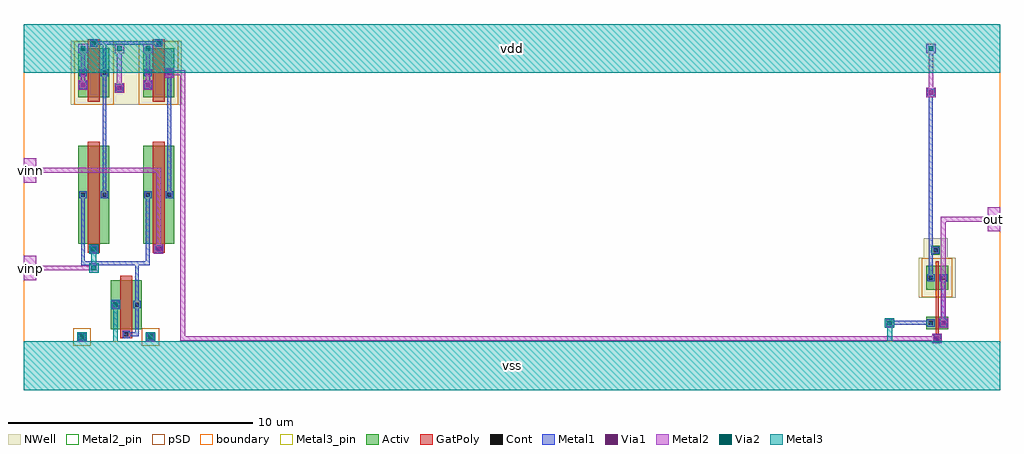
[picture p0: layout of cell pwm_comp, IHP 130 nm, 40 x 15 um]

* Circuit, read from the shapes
.subckt pwm_comp out vdd vinn vinp vss
XM1 n1 vinp n2 vss sg13_lv_nmos w=4u l=0.5u
XM2 n2 n2 vss vss sg13_lv_nmos w=2u l=0.5u
XM3 n3 vinn n2 vss sg13_lv_nmos w=4u l=0.5u
XM4 out n3 vss vss sg13_lv_nmos w=0.5u l=0.13u
XM5 n1 n1 vdd vdd sg13_lv_pmos w=2u l=0.5u
XM6 n3 n1 vdd vdd sg13_lv_pmos w=2u l=0.5u
XM7 out n3 vdd vdd sg13_lv_pmos w=1u l=0.13u
.ends

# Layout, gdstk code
import gdstk
lib = gdstk.Library(unit=1e-6, precision=1e-09)
def R(c, l, rs):  # rectangles x0, y0, x1, y1
    for r in rs: c.add(gdstk.rectangle(r[:2], r[2:], *l))
Activ = (1, 0)
GatPoly = (5, 0)
Cont = (6, 0)
Metal1 = (8, 0)
Metal2 = (10, 0)
Metal2_pin = (10, 2)
pSD = (14, 0)
Via1 = (19, 0)
Via2 = (29, 0)
Metal3 = (30, 0)
Metal3_pin = (30, 2)
NWell = (31, 0)
boundary = (189, 4)

pwm_comp = lib.new_cell('pwm_comp')
R(pwm_comp, Activ, [(2.2,2,2.56,2.36), (5,2,5.36,2.36), (3.56,2.5,4.82,4.5), (36.98,2.5,37.87,3), (36.98,4.1,37.87,5.1), (37.18,5.55,37.54,5.91), (2.23,6,3.49,10), (4.89,6,6.15,10), (2.23,12,3.49,14), (4.89,12,6.15,14), (3.73,12.2,4.09,12.56)])
R(pwm_comp, GatPoly, [(37.265,1.95,37.585,2.27), (3.94,2.12,4.44,2.32), (37.36,2.13,37.49,2.32), (37.36,2.27,37.49,2.32), (3.94,2.32,4.44,4.68), (37.36,2.32,37.49,3.18), (37.36,3.18,37.49,3.92), (37.36,3.92,37.49,5.28), (2.61,5.62,3.11,5.82), (5.27,5.62,5.77,5.82), (2.61,5.82,3.11,10.18), (5.27,5.82,5.77,10.18), (2.61,11.82,3.11,14.18), (5.27,11.82,5.77,14.18), (2.61,14.18,3.11,14.38), (5.27,14.18,5.77,14.38)])
R(pwm_comp, Cont, [(37.345,2.03,37.505,2.19), (37.345,2.03,37.505,2.19), (2.3,2.1,2.46,2.26), (5.1,2.1,5.26,2.26), (4.11,2.2,4.27,2.36), (37.09,2.67,37.25,2.83), (37.6,2.67,37.76,2.83), (3.67,3.42,3.83,3.58), (4.55,3.42,4.71,3.58), (37.09,4.52,37.25,4.68), (37.6,4.52,37.76,4.68), (37.28,5.65,37.44,5.81), (2.78,5.7,2.94,5.86), (5.44,5.7,5.6,5.86), (2.34,7.92,2.5,8.08), (3.22,7.92,3.38,8.08), (5,7.92,5.16,8.08), (5.88,7.92,6.04,8.08), (3.83,12.3,3.99,12.46), (2.34,12.92,2.5,13.08), (3.22,12.92,3.38,13.08), (5,12.92,5.16,13.08), (5.88,12.92,6.04,13.08), (2.78,14.14,2.94,14.3), (5.44,14.14,5.6,14.3)])
R(pwm_comp, Metal1, [(37.275,1.96,37.575,2.26), (37.275,1.96,37.575,2.26), (2.23,2.03,2.53,2.33), (2.23,2.03,2.53,2.33), (5.03,2.03,5.33,2.33), (5.03,2.03,5.33,2.33), (4.04,2.13,4.34,2.43), (4.11,2.2,4.71,2.36), (4.55,2.2,4.71,3.58), (35.33,2.6,35.63,2.9), (37.02,2.6,37.32,2.9), (37.53,2.6,37.83,2.9), (37.53,2.6,37.83,2.9), (35.4,2.67,37.25,2.83), (37.6,2.67,37.76,4.68), (3.6,3.35,3.9,3.65), (3.6,3.35,3.9,3.65), (4.48,3.35,4.78,3.65), (4.55,3.42,4.71,5.28), (37.02,4.45,37.32,4.75), (37.53,4.45,37.83,4.75), (37.09,4.52,37.25,12.2), (2.34,5.12,2.5,8.08), (2.34,5.12,5.16,5.28), (5,5.12,5.16,8.08), (37.21,5.58,37.51,5.88), (2.71,5.63,3.01,5.93), (2.71,5.63,3.01,5.93), (5.37,5.63,5.67,5.93), (5.37,5.63,5.67,5.93), (37.09,5.65,37.44,5.81), (2.27,7.85,2.57,8.15), (3.15,7.85,3.45,8.15), (4.93,7.85,5.23,8.15), (5.81,7.85,6.11,8.15), (3.22,7.92,3.38,13.08), (5.88,7.92,6.04,13.08), (37.02,12.05,37.32,12.35), (3.76,12.23,4.06,12.53), (3.76,12.23,4.06,12.53), (2.27,12.35,2.57,12.65), (4.93,12.35,5.23,12.65), (2.34,12.5,2.5,12.92), (5,12.5,5.16,12.92), (2.27,12.85,2.57,13.15), (3.15,12.85,3.45,13.15), (4.93,12.85,5.23,13.15), (5.81,12.85,6.11,13.15), (5.81,12.85,6.11,13.15), (3.22,13.08,3.38,14.14), (2.71,14.07,3.01,14.37), (5.37,14.07,5.67,14.37), (2.78,14.14,5.6,14.3)])
R(pwm_comp, Metal2, [(37.23,1.915,37.62,2.305), (2.185,1.985,2.575,2.375), (2.185,1.985,2.575,2.375), (4.985,1.985,5.375,2.375), (4.985,1.985,5.375,2.375), (6.4,2.01,6.6,13.1), (6.4,2.01,37.525,2.21), (35.285,2.555,35.675,2.945), (35.285,2.555,35.675,2.945), (37.485,2.555,37.875,2.945), (37.58,2.65,37.78,7.1), (3.555,3.305,3.945,3.695), (3.555,3.305,3.945,3.695), (0,4.5,0.5,5.5), (2.665,4.805,3.055,5.195), (0,4.9,2.96,5.1), (2.665,5.585,3.055,5.975), (2.665,5.585,3.055,5.975), (5.325,5.585,5.715,5.975), (5.42,5.68,5.62,9.1), (39.5,6.5,40,7.5), (37.58,6.9,40,7.1), (0,8.5,0.5,9.5), (0,8.9,5.62,9.1), (36.975,12.005,37.365,12.395), (37.07,12.1,37.27,14.1), (3.715,12.185,4.105,12.575), (3.81,12.28,4.01,14.1), (2.225,12.305,2.615,12.695), (4.885,12.305,5.275,12.695), (2.32,12.4,2.52,14.1), (4.98,12.4,5.18,14.1), (5.765,12.805,6.155,13.195), (5.86,12.9,6.6,13.1), (2.225,13.805,2.615,14.195), (3.715,13.805,4.105,14.195), (4.885,13.805,5.275,14.195), (36.975,13.805,37.365,14.195)])
R(pwm_comp, Metal2_pin, [(0,4.5,0.5,5.5), (39.5,6.5,40,7.5), (0,8.5,0.5,9.5)])
R(pwm_comp, pSD, [(2.02,1.82,2.74,2.54), (4.82,1.82,5.54,2.54), (36.8,3.8,38.05,5.4), (2.05,11.7,3.67,14.3), (4.71,11.7,6.33,14.3)])
R(pwm_comp, Via1, [(37.33,2.015,37.52,2.205), (2.285,2.085,2.475,2.275), (5.085,2.085,5.275,2.275), (35.385,2.655,35.575,2.845), (37.585,2.655,37.775,2.845), (3.655,3.405,3.845,3.595), (2.765,5.685,2.955,5.875), (5.425,5.685,5.615,5.875), (37.075,12.105,37.265,12.295), (3.815,12.285,4.005,12.475), (2.325,12.405,2.515,12.595), (4.985,12.405,5.175,12.595), (5.865,12.905,6.055,13.095)])
R(pwm_comp, Via2, [(2.285,2.085,2.475,2.275), (5.085,2.085,5.275,2.275), (35.385,2.655,35.575,2.845), (3.655,3.405,3.845,3.595), (2.765,4.905,2.955,5.095), (2.765,5.685,2.955,5.875), (2.325,13.905,2.515,14.095), (3.815,13.905,4.005,14.095), (4.985,13.905,5.175,14.095), (37.075,13.905,37.265,14.095)])
R(pwm_comp, Metal3, [(0,0,40,2), (0,0,40,2), (3.65,0,3.85,3.6), (35.38,0,35.58,2.85), (2.185,1.985,2.575,2.375), (4.985,1.985,5.375,2.375), (35.285,2.555,35.675,2.945), (3.555,3.305,3.945,3.695), (2.665,4.805,3.055,5.195), (2.76,4.9,2.96,5.88), (2.665,5.585,3.055,5.975), (0,13,40,15), (0,13,40,15), (2.225,13.805,2.615,14.195), (3.715,13.805,4.105,14.195), (4.885,13.805,5.275,14.195), (36.975,13.805,37.365,14.195)])
R(pwm_comp, Metal3_pin, [(0,0,40,2), (0,13,40,15)])
R(pwm_comp, NWell, [(36.67,3.79,38.18,5.41), (36.87,5.24,37.85,6.22), (1.92,11.69,6.46,14.31), (3.42,11.89,4.4,12.87)])
R(pwm_comp, boundary, [(0,0,40,15)])
pwm_comp.add(gdstk.Label('vinp', (0.25,5), layer=10, texttype=25))
pwm_comp.add(gdstk.Label('vinn', (0.25,9), layer=10, texttype=25))
pwm_comp.add(gdstk.Label('out', (39.75,7), layer=10, texttype=25))
pwm_comp.add(gdstk.Label('vdd', (20,14), layer=30, texttype=25))
pwm_comp.add(gdstk.Label('vss', (20,1), layer=30, texttype=25))

lib.write_gds('pwm_comp.gds')
